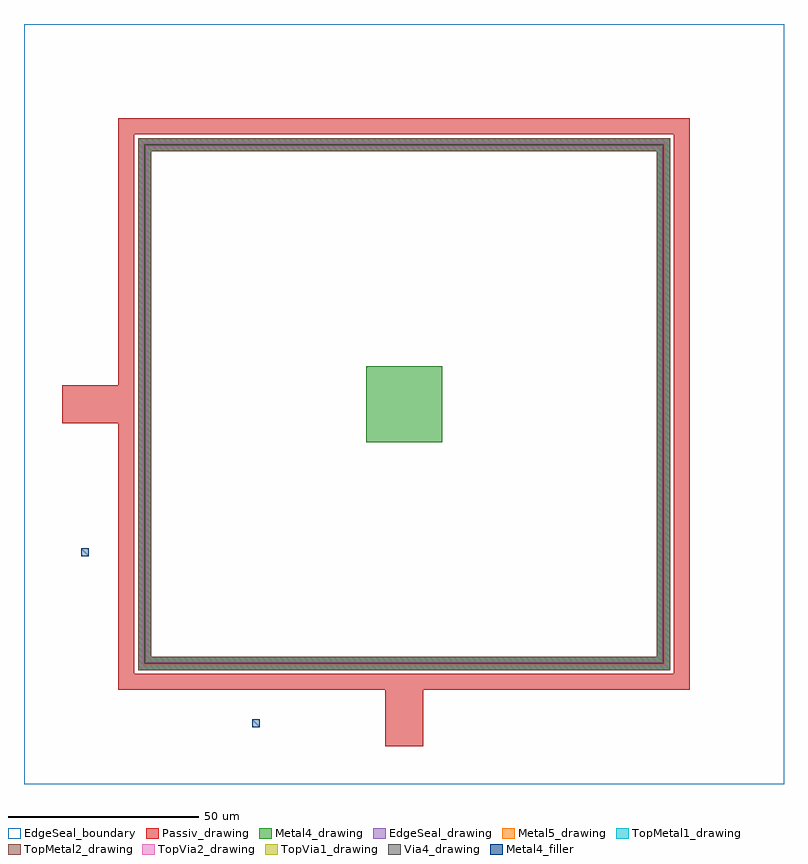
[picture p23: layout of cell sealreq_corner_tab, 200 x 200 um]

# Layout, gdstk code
import gdstk
lib = gdstk.Library(unit=1e-6, precision=1e-09)
def R(c, l, rs):  # rectangles x0, y0, x1, y1
    for r in rs: c.add(gdstk.rectangle(r[:2], r[2:], *l))
def P(c, l, *ps):  # polygons
    for p in ps: c.add(gdstk.Polygon(p, *l))
Passiv_drawing = (9, 0)
EdgeSeal_drawing = (39, 0)
EdgeSeal_boundary = (39, 4)
Metal4_drawing = (50, 0)
Metal4_filler = (50, 22)
Via4_drawing = (66, 0)
Metal5_drawing = (67, 0)
TopVia1_drawing = (125, 0)
TopMetal1_drawing = (126, 0)
TopVia2_drawing = (133, 0)
TopMetal2_drawing = (134, 0)

sealreq_corner_tab = lib.new_cell('sealreq_corner_tab')
R(sealreq_corner_tab, Passiv_drawing, [(95,10,105,24.8), (10,95,24.8,105)])
P(sealreq_corner_tab, Passiv_drawing, [(24.8,24.8),(24.8,171),(29,171),(29,29),(171,29),(171,171),(24.8,171),(24.8,175.2),(175.2,175.2),(175.2,24.8)])
P(sealreq_corner_tab, EdgeSeal_drawing, [(30,30),(30,166.5),(33.5,166.5),(33.5,33.5),(166.5,33.5),(166.5,166.5),(30,166.5),(30,170),(170,170),(170,30)])
R(sealreq_corner_tab, EdgeSeal_boundary, [(0,0,200,200)])
R(sealreq_corner_tab, Metal4_drawing, [(90,90,110,110)])
P(sealreq_corner_tab, Metal4_drawing, [(30,30),(30,166.5),(33.5,166.5),(33.5,33.5),(166.5,33.5),(166.5,166.5),(30,166.5),(30,170),(170,170),(170,30)])
R(sealreq_corner_tab, Metal4_filler, [(60,15,62,17), (15,60,17,62)])
P(sealreq_corner_tab, Via4_drawing, [(31.655,31.655),(31.655,168.155),(31.845,168.155),(31.845,31.845),(168.155,31.845),(168.155,168.155),(31.655,168.155),(31.655,168.345),(168.345,168.345),(168.345,31.655)])
P(sealreq_corner_tab, Metal5_drawing, [(30,30),(30,166.5),(33.5,166.5),(33.5,33.5),(166.5,33.5),(166.5,166.5),(30,166.5),(30,170),(170,170),(170,30)])
P(sealreq_corner_tab, TopVia1_drawing, [(31.54,31.54),(31.54,168.04),(31.96,168.04),(31.96,31.96),(168.04,31.96),(168.04,168.04),(31.54,168.04),(31.54,168.46),(168.46,168.46),(168.46,31.54)])
P(sealreq_corner_tab, TopMetal1_drawing, [(30,30),(30,166.5),(33.5,166.5),(33.5,33.5),(166.5,33.5),(166.5,166.5),(30,166.5),(30,170),(170,170),(170,30)])
P(sealreq_corner_tab, TopVia2_drawing, [(31.3,31.3),(31.3,167.8),(32.2,167.8),(32.2,32.2),(167.8,32.2),(167.8,167.8),(31.3,167.8),(31.3,168.7),(168.7,168.7),(168.7,31.3)])
P(sealreq_corner_tab, TopMetal2_drawing, [(30,30),(30,166.5),(33.5,166.5),(33.5,33.5),(166.5,33.5),(166.5,166.5),(30,166.5),(30,170),(170,170),(170,30)])

lib.write_gds('sealreq_corner_tab.gds')
